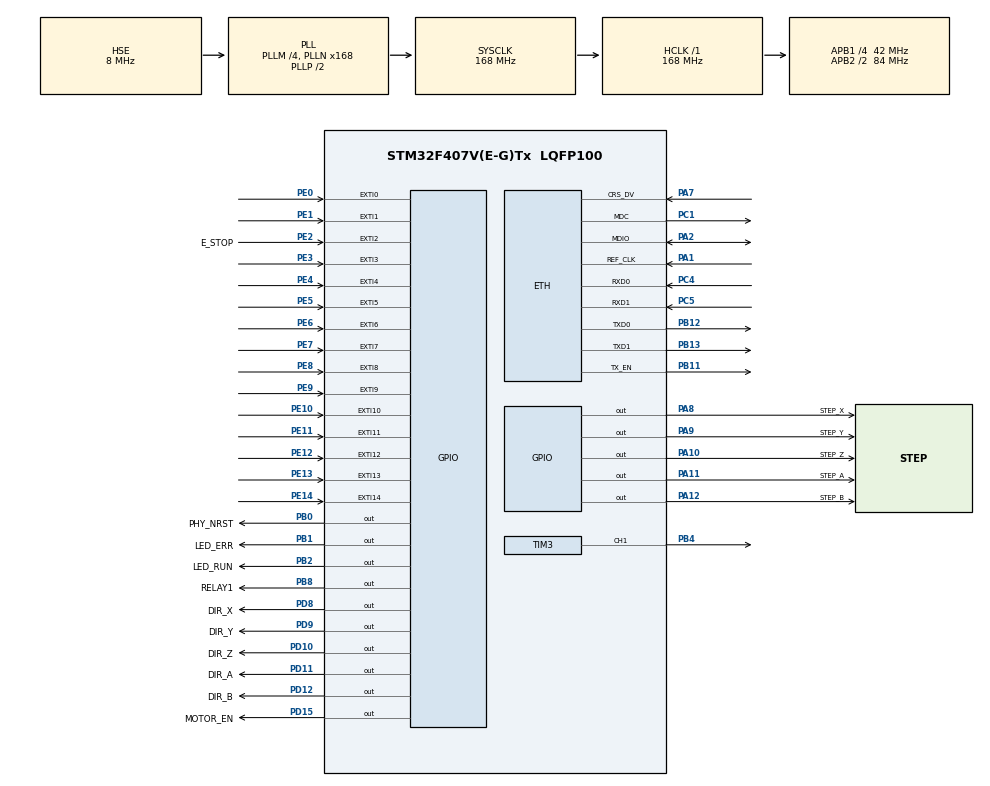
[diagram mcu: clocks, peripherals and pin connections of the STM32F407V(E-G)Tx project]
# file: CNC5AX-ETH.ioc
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Dma.Request0=TIM8_UP
Dma.TIM8_UP.0.Direction=DMA_MEMORY_TO_PERIPH
Dma.TIM8_UP.0.FIFOMode=DMA_FIFOMODE_DISABLE
Dma.TIM8_UP.0.Instance=DMA2_Stream1
Dma.TIM8_UP.0.MemDataAlignment=DMA_MDATAALIGN_WORD
Dma.TIM8_UP.0.MemInc=DMA_MINC_ENABLE
Dma.TIM8_UP.0.Mode=DMA_CIRCULAR
Dma.TIM8_UP.0.PeriphDataAlignment=DMA_PDATAALIGN_WORD
Dma.TIM8_UP.0.PeriphInc=DMA_PINC_DISABLE
Dma.TIM8_UP.0.Priority=DMA_PRIORITY_VERY_HIGH
ETH.MediaInterface=HAL_ETH_RMII_MODE
LWIP.BSP.number=1
LWIP.IP_ADDRESS=192,168,5,10
LWIP.LWIP_DHCP=0
LWIP.LWIP_IPV6=0
LWIP.GATEWAY_ADDRESS=0,0,0,0
LWIP.NET_MASK=255,255,255,0
LWIP.Version=v2.1.2_Cube
LWIP0.BSP.STBoard=false
LWIP0.BSP.api=BSP_COMPONENT_DRIVER
LWIP0.BSP.component=LAN8742
LWIP0.BSP.instance=LAN8742
LWIP0.BSP.name=Driver_PHY
LWIP0.BSP.semaphore=S_LAN8742
LWIP0.BSP.solution=LAN8742
Mcu.Family=STM32F4
Mcu.Name=STM32F407V(E-G)Tx
Mcu.Package=LQFP100
NVIC.DMA2_Stream1_IRQn=true\:2\:0\:true\:false\:true\:false\:true\:true
NVIC.ETH_IRQn=true\:5\:0\:true\:false\:true\:true\:true\:true
NVIC.ETH_WKUP_IRQn=true\:5\:0\:true\:false\:true\:true\:true\:true
NVIC.EXTI0_IRQn=true\:1\:0\:true\:false\:true\:true\:true\:true
NVIC.EXTI15_10_IRQn=true\:1\:0\:true\:false\:true\:true\:true\:true
NVIC.EXTI1_IRQn=true\:1\:0\:true\:false\:true\:true\:true\:true
NVIC.EXTI2_IRQn=true\:0\:0\:false\:false\:true\:true\:true\:true
NVIC.EXTI3_IRQn=true\:1\:0\:true\:false\:true\:true\:true\:true
NVIC.EXTI4_IRQn=true\:1\:0\:true\:false\:true\:true\:true\:true
NVIC.EXTI9_5_IRQn=true\:1\:0\:true\:false\:true\:true\:true\:true
NVIC.PriorityGroup=NVIC_PRIORITYGROUP_4
PA1.Mode=RMII
PA1.Signal=ETH_REF_CLK
PA10.GPIO_Label=STEP_Z
PA10.GPIO_Speed=GPIO_SPEED_FREQ_VERY_HIGH
PA10.Signal=GPIO_Output
PA11.GPIO_Label=STEP_A
PA11.GPIO_Speed=GPIO_SPEED_FREQ_VERY_HIGH
PA11.Signal=GPIO_Output
PA12.GPIO_Label=STEP_B
PA12.GPIO_Speed=GPIO_SPEED_FREQ_VERY_HIGH
PA12.Signal=GPIO_Output
PA13.Mode=Serial_Wire
PA13.Signal=SYS_JTMS-SWDIO
PA14.Mode=Serial_Wire
PA14.Signal=SYS_JTCK-SWCLK
PA2.Mode=RMII
PA2.Signal=ETH_MDIO
PA7.Mode=RMII
PA7.Signal=ETH_CRS_DV
PA8.GPIO_Label=STEP_X
PA8.GPIO_Speed=GPIO_SPEED_FREQ_VERY_HIGH
PA8.Signal=GPIO_Output
PA9.GPIO_Label=STEP_Y
PA9.GPIO_Speed=GPIO_SPEED_FREQ_VERY_HIGH
PA9.Signal=GPIO_Output
PB0.GPIO_Label=PHY_NRST
PB0.GPIO_PuPd=GPIO_PULLUP
PB0.PinState=GPIO_PIN_SET
PB0.Signal=GPIO_Output
PB1.GPIO_Label=LED_ERR
PB1.Signal=GPIO_Output
PB11.Mode=RMII
PB11.Signal=ETH_TX_EN
PB12.Mode=RMII
PB12.Signal=ETH_TXD0
PB13.Mode=RMII
PB13.Signal=ETH_TXD1
PB2.GPIO_Label=LED_RUN
PB2.Signal=GPIO_Output
PB4.Signal=S_TIM3_CH1
PB8.GPIO_Label=RELAY1
PB8.Signal=GPIO_Output
PC1.Mode=RMII
PC1.Signal=ETH_MDC
PC4.Mode=RMII
PC4.Signal=ETH_RXD0
PC5.Mode=RMII
PC5.Signal=ETH_RXD1
PD10.GPIO_Label=DIR_Z
PD10.GPIO_Speed=GPIO_SPEED_FREQ_VERY_HIGH
PD10.Signal=GPIO_Output
PD11.GPIO_Label=DIR_A
PD11.GPIO_Speed=GPIO_SPEED_FREQ_VERY_HIGH
PD11.Signal=GPIO_Output
PD12.GPIO_Label=DIR_B
PD12.GPIO_Speed=GPIO_SPEED_FREQ_VERY_HIGH
PD12.Signal=GPIO_Output
PD15.GPIO_Label=MOTOR_EN
PD15.GPIO_Speed=GPIO_SPEED_FREQ_VERY_HIGH
PD15.PinState=GPIO_PIN_SET
PD15.Signal=GPIO_Output
PD8.GPIO_Label=DIR_X
PD8.GPIO_Speed=GPIO_SPEED_FREQ_VERY_HIGH
PD8.Signal=GPIO_Output
PD9.GPIO_Label=DIR_Y
PD9.GPIO_Speed=GPIO_SPEED_FREQ_VERY_HIGH
PD9.Signal=GPIO_Output
PE0.GPIO_ModeDefaultEXTI=GPIO_MODE_IT_RISING_FALLING
PE0.Signal=GPXTI0
PE1.GPIO_ModeDefaultEXTI=GPIO_MODE_IT_RISING_FALLING
PE1.Signal=GPXTI1
PE10.GPIO_ModeDefaultEXTI=GPIO_MODE_IT_RISING_FALLING
PE10.Signal=GPXTI10
PE11.GPIO_ModeDefaultEXTI=GPIO_MODE_IT_RISING_FALLING
PE11.Signal=GPXTI11
PE12.GPIO_ModeDefaultEXTI=GPIO_MODE_IT_RISING_FALLING
PE12.Signal=GPXTI12
PE13.GPIO_ModeDefaultEXTI=GPIO_MODE_IT_RISING_FALLING
PE13.Signal=GPXTI13
PE14.GPIO_ModeDefaultEXTI=GPIO_MODE_IT_RISING_FALLING
PE14.Signal=GPXTI14
PE2.GPIO_Label=E_STOP
PE2.GPIO_ModeDefaultEXTI=GPIO_MODE_IT_RISING_FALLING
PE2.Signal=GPXTI2
PE3.GPIO_ModeDefaultEXTI=GPIO_MODE_IT_RISING_FALLING
PE3.Signal=GPXTI3
PE4.GPIO_ModeDefaultEXTI=GPIO_MODE_IT_RISING_FALLING
PE4.Signal=GPXTI4
PE5.GPIO_ModeDefaultEXTI=GPIO_MODE_IT_RISING_FALLING
PE5.Signal=GPXTI5
PE6.GPIO_ModeDefaultEXTI=GPIO_MODE_IT_RISING_FALLING
PE6.Signal=GPXTI6
PE7.GPIO_ModeDefaultEXTI=GPIO_MODE_IT_RISING_FALLING
PE7.Signal=GPXTI7
PE8.GPIO_ModeDefaultEXTI=GPIO_MODE_IT_RISING_FALLING
PE8.Signal=GPXTI8
PE9.GPIO_ModeDefaultEXTI=GPIO_MODE_IT_RISING_FALLING
PE9.Signal=GPXTI9
PH0-OSC_IN.Mode=HSE-External-Oscillator
PH0-OSC_IN.Signal=RCC_OSC_IN
PH1-OSC_OUT.Mode=HSE-External-Oscillator
PH1-OSC_OUT.Signal=RCC_OSC_OUT
ProjectManager.HeapSize=0x200
ProjectManager.StackSize=0x400
ProjectManager.TargetToolchain=STM32CubeIDE
RCC.48MHZClocksFreq_Value=84000000
RCC.AHBFreq_Value=168000000
RCC.APB1CLKDivider=RCC_HCLK_DIV4
RCC.APB1Freq_Value=42000000
RCC.APB1TimFreq_Value=84000000
RCC.APB2CLKDivider=RCC_HCLK_DIV2
RCC.APB2Freq_Value=84000000
RCC.APB2TimFreq_Value=168000000
RCC.CortexFreq_Value=168000000
RCC.HCLKFreq_Value=168000000
RCC.HSE_VALUE=8000000
RCC.HSI_VALUE=16000000
RCC.LSE_VALUE=32768
RCC.PLLM=4
RCC.PLLN=168
RCC.PLLSourceVirtual=RCC_PLLSOURCE_HSE
RCC.RCC_MCO2Source=RCC_MCO2SOURCE_PLLCLK
RCC.RCC_MCODiv2=RCC_MCODIV_4
RCC.SYSCLKFreq_VALUE=168000000
RCC.SYSCLKSource=RCC_SYSCLKSOURCE_PLLCLK
RCC.VCOOutputFreq_Value=336000000
SH.S_TIM3_CH1.0=TIM3_CH1,PWM Generation1 CH1
TIM3.AutoReloadPreload=TIM_AUTORELOAD_PRELOAD_ENABLE
TIM3.Channel-PWM\ Generation1\ CH1=TIM_CHANNEL_1
TIM3.Period=99
TIM3.Prescaler=83
TIM8.AutoReloadPreload=TIM_AUTORELOAD_PRELOAD_ENABLE
TIM8.Period=41
VP_LWIP_VS_Enabled.Mode=Enabled
VP_TIM3_VS_ClockSourceINT.Mode=Internal
VP_TIM8_VS_ClockSourceINT.Mode=Internal
board=custom

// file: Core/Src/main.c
/* USER CODE BEGIN Header */
/**
  ******************************************************************************
  * @file           : main.c
  * @brief          : Main program body
  ******************************************************************************
  * @attention
  *
  * Copyright (c) 2026 STMicroelectronics.
  * All rights reserved.
  *
  * This software is licensed under terms that can be found in the LICENSE file
  * in the root directory of this software component.
  * If no LICENSE file comes with this software, it is provided AS-IS.
  *
  ******************************************************************************
  */
/* USER CODE END Header */
#include "main.h"
#include "dma.h"
#include "lwip.h"
#include "tim.h"
#include "gpio.h"

/* USER CODE BEGIN Includes */

#include "stepgen.h"
#include "stepgen_selftest.h"
#include "safety_input.h"
#include "safety_selftest.h"
#include "io_outputs.h"
#include "io_selftest.h"
#include "net_selftest.h"
#include "net_udp.h"
/* USER CODE END Includes */

/* USER CODE BEGIN PV */

/* Motion engine bring-up status, readable over SWD. */
volatile bool     g_stepgen_ready;
volatile uint32_t g_stepgen_tick_hz;

/* Digital-input subsystem (M3) bring-up status, readable over SWD. */
volatile bool     g_safety_ready;

/* Output subsystem (M9 relay/LEDs, M10 spindle) bring-up status. */
volatile bool     g_io_ready;

#if CNC_RUN_SELFTEST_AT_BOOT
volatile bool     g_stepgen_selftest_pass;
volatile bool     g_net_selftest_pass;
volatile bool     g_safety_selftest_pass;
volatile bool     g_io_selftest_pass;
#endif

/* Protocol layer (Phase 3) bring-up status, readable over SWD. */
volatile bool     g_udp_ready;
/* USER CODE END PV */

void SystemClock_Config(void);

int main(void)
{

  /* MCU Configuration--------------------------------------------------------*/

  /* Reset of all peripherals, Initializes the Flash interface and the Systick. */
  HAL_Init();

  /* Configure the system clock */
  SystemClock_Config();

  /* Initialize all configured peripherals */
  MX_GPIO_Init();
  MX_DMA_Init();
  MX_TIM3_Init();
  MX_LWIP_Init();
  MX_TIM8_Init();
  /* USER CODE BEGIN 2 */

  /* Motion engine (Phase 1).
   *
   * stepgen_init() configures TIM8 + DMA2_Stream1 + the STEP/DIR/EN GPIOs
   * and leaves the engine in SAFE_IDLE with the drives DISABLED (PD15 at
   * the disabled level for CNC_EN_ACTIVE_HIGH). Nothing moves until something calls
   * stepgen_enable_drives() and stepgen_start(), which is deliberate: the
   * host protocol that will do so is Phase 3 work.
   *
   * If this machine's maximum STEP rate is below the 2 MHz project
   * ceiling, declare it here - the refill cost follows the base tick, not
   * the commanded speed, so a lower ceiling directly returns CPU time:
   *
   *   stepgen_configure_max_rate(1000000u);   // 1 MHz -> half the cost
   */
  g_stepgen_ready   = stepgen_init();
  g_stepgen_tick_hz = stepgen_tick_hz();

  /* Digital inputs and the E-STOP path (Phase 4 / M3).
   *
   * After stepgen_init(), never before: this samples PE2 and, if the
   * E-STOP is ALREADY asserted at power-on, drives the engine straight to
   * EMERGENCY_STOP rather than waiting for an edge that has already
   * happened. It also registers the physical-release interlock ADR-010
   * requires before an E-STOP may ever be cleared, so no packet and no
   * call path can clear one while PE2 is still down.
   *
   * Arming the EXTI lines is the last thing it does, so no input interrupt
   * can arrive before the subsystem knows the initial state of all 15. */
  g_safety_ready = safety_input_init();

  /* Relay, status LEDs and spindle PWM (Phase 5 / M9 + M10).
   *
   * After safety_input_init(), never before: this registers the
   * interrupt-time kill with the E-STOP path, and safety_input_init()
   * clears that registration as part of its own reset. Getting the order
   * wrong would leave a relay closed and a spindle turning until the
   * superloop next ran, on a machine whose relay may be the spindle
   * contactor.
   *
   * Everything comes up off: relay de-energised, PWM generator stopped,
   * both LEDs dark. Outputs stay inhibited until the host has explicitly
   * enabled the drives (ADR-016). */
  g_io_ready = io_init();

#if CNC_RUN_SELFTEST_AT_BOOT
  /* Hardware validation HV-00..HV-05 (Docs/HARDWARE-VALIDATION.md).
   * Safe to run: the drives are still disabled and the timebase is stopped
   * between tests. Inspect stepgen_selftest_results() over SWD. */
  g_stepgen_selftest_pass = stepgen_selftest_run_all();

  /* Network validation HV-20..HV-24. MX_LWIP_Init() above has already run
   * the PHY reset and brought the interface up, so all of them have
   * something to measure. HV-25 (link state) is reported but excluded from
   * the verdict: at this point auto-negotiation has had a few milliseconds,
   * so a down link here means nothing. Read it from the 100 ms poll later.
   * Inspect net_selftest_results() over SWD. */
  g_net_selftest_pass = net_selftest_run_all();

  /* Input-subsystem validation HV-40..HV-43. No E-STOP is asserted by
   * these - they check the conditions that make the E-STOP path work, and
   * HV-18 on a bench checks the path itself. HV-42 assumes the machine's
   * switches are at rest. Inspect safety_selftest_results() over SWD. */
  g_safety_selftest_pass = safety_selftest_run_all();

  /* Output validation HV-50..HV-53. None of these closes the relay or
   * turns the spindle - they check the configuration and that the
   * interlock refuses to, which at this point in the boot it must.
   * Inspect io_selftest_results() over SWD. */
  g_io_selftest_pass = io_selftest_run_all();
#endif

  /* Protocol layer (Phase 3). Binds UDP 55010 and waits. Nothing moves as a
   * result of this: the engine is still in SAFE_IDLE with the drives
   * disabled, and it stays there until a host sends CONTROL:ENABLE_DRIVES
   * and CONTROL:START. Motion blocks arriving before that are refused with
   * WRONG_STATE rather than queued. */
  g_udp_ready = net_udp_init();

  /* USER CODE END 2 */

  /* Infinite loop */
  /* USER CODE BEGIN WHILE */
  while (1)
  {
	  MX_LWIP_Process();
    /* USER CODE END WHILE */

    /* USER CODE BEGIN 3 */
    /* Debounce filter, E-STOP release timer and chatter counters. The
     * E-STOP itself does not wait for this - it is acted on in the EXTI2
     * interrupt - so a slow loop iteration delays only the reporting of
     * ordinary inputs and the permission to clear an E-STOP, never the
     * stop. */
    safety_input_poll(HAL_GetTick());

    /* Relay, spindle and the status LEDs. Re-reads the engine state every
     * iteration and applies the safe state from it, so an output can never
     * outlive the condition that permitted it. The E-STOP does not wait
     * for this either - it kills the outputs from the EXTI2 interrupt. */
    io_poll(HAL_GetTick());

    /* Status stream and comm-timeout supervision. MX_LWIP_Process() above
     * delivers received datagrams; this drives the outbound half. */
    net_udp_poll();
  }
  /* USER CODE END 3 */
}

void SystemClock_Config(void)
{
  RCC_OscInitTypeDef RCC_OscInitStruct = {0};
  RCC_ClkInitTypeDef RCC_ClkInitStruct = {0};

  /** Configure the main internal regulator output voltage
  */
  __HAL_RCC_PWR_CLK_ENABLE();
  __HAL_PWR_VOLTAGESCALING_CONFIG(PWR_REGULATOR_VOLTAGE_SCALE1);

  /** Initializes the RCC Oscillators according to the specified parameters
  * in the RCC_OscInitTypeDef structure.
  */
  RCC_OscInitStruct.OscillatorType = RCC_OSCILLATORTYPE_HSE;
  RCC_OscInitStruct.HSEState = RCC_HSE_ON;
  RCC_OscInitStruct.PLL.PLLState = RCC_PLL_ON;
  RCC_OscInitStruct.PLL.PLLSource = RCC_PLLSOURCE_HSE;
  RCC_OscInitStruct.PLL.PLLM = 4;
  RCC_OscInitStruct.PLL.PLLN = 168;
  RCC_OscInitStruct.PLL.PLLP = RCC_PLLP_DIV2;
  RCC_OscInitStruct.PLL.PLLQ = 4;
  if (HAL_RCC_OscConfig(&RCC_OscInitStruct) != HAL_OK)
  {
    Error_Handler();
  }

  /** Initializes the CPU, AHB and APB buses clocks
  */
  RCC_ClkInitStruct.ClockType = RCC_CLOCKTYPE_HCLK|RCC_CLOCKTYPE_SYSCLK
                              |RCC_CLOCKTYPE_PCLK1|RCC_CLOCKTYPE_PCLK2;
  RCC_ClkInitStruct.SYSCLKSource = RCC_SYSCLKSOURCE_PLLCLK;
  RCC_ClkInitStruct.AHBCLKDivider = RCC_SYSCLK_DIV1;
  RCC_ClkInitStruct.APB1CLKDivider = RCC_HCLK_DIV4;
  RCC_ClkInitStruct.APB2CLKDivider = RCC_HCLK_DIV2;

  if (HAL_RCC_ClockConfig(&RCC_ClkInitStruct, FLASH_LATENCY_5) != HAL_OK)
  {
    Error_Handler();
  }
}

void Error_Handler(void)
{
  __disable_irq();
  while (1)
  {
  }
}
